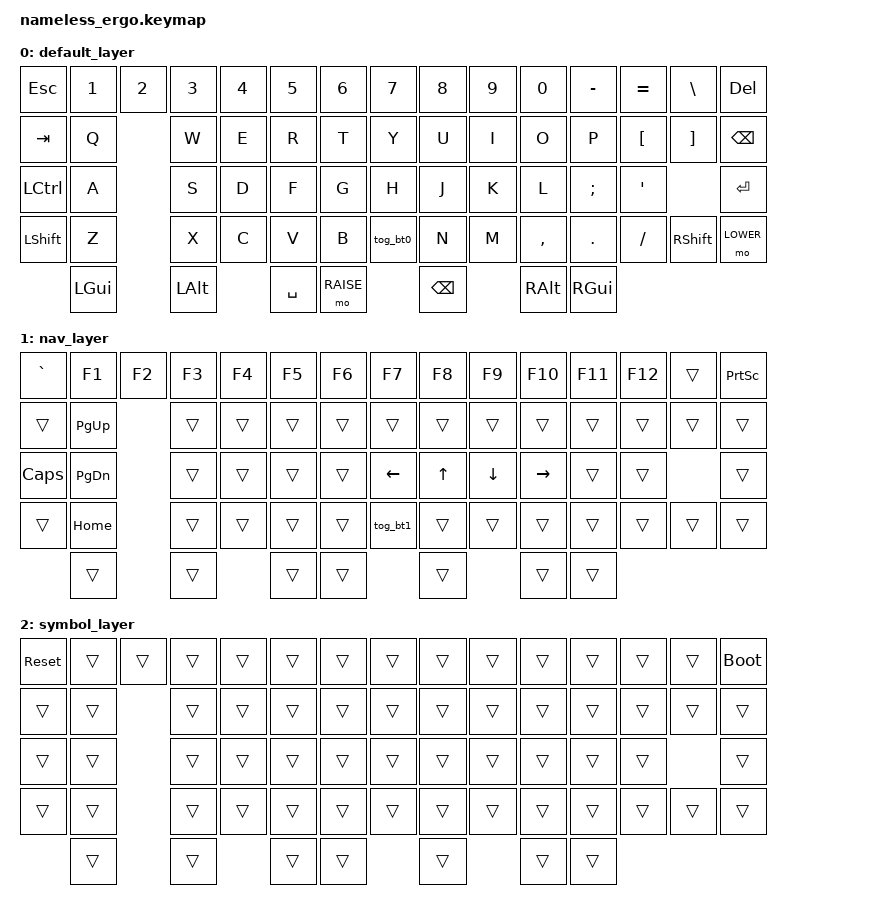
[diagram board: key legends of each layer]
/*
 * Copyright (c) 2023 The ZMK Contributors
 *
 * SPDX-License-Identifier: MIT
 */

#define DEFAULT 0
#define LOWER   1
#define RAISE   2

#include <behaviors.dtsi>
#include <dt-bindings/zmk/keys.h>
#include <dt-bindings/zmk/bt.h>
#include <dt-bindings/zmk/outputs.h>

/ {
    macros {
        tog_bt0: tog_bt0 {
            label = "tog_bt0";
            compatible = "zmk,behavior-macro";
            #binding-cells = <0>;
            wait-ms = <40>;
            tap-ms = <40>;
            bindings = <&out OUT_BLE &bt BT_SEL 0>;
        };
        tog_bt1: tog_bt1 {
            label = "tog_bt1";
            compatible = "zmk,behavior-macro";
            #binding-cells = <0>;
            wait-ms = <40>;
            tap-ms = <40>;
            bindings = <&out OUT_BLE &bt BT_SEL 1>;
        };
    };
};

/ {
    keymap {
        compatible = "zmk,keymap";

        default_layer {
            bindings = <
    &kp ESC     &kp N1    &kp N2     &kp N3    &kp N4    &kp N5   &kp N6                  &kp N7   &kp N8    &kp N9    &kp N0       &kp MINUS   &kp EQUAL   &kp BSLH    &kp DEL
    &kp TAB     &kp Q                &kp W     &kp E     &kp R    &kp T                   &kp Y    &kp U     &kp I     &kp O        &kp P       &kp LBKT    &kp RBKT    &kp BSPC
    &kp LCTRL   &kp A                &kp S     &kp D     &kp F    &kp G                   &kp H    &kp J     &kp K     &kp L        &kp SEMI    &kp SQT                 &kp RET    
    &kp LSHIFT  &kp Z                &kp X     &kp C     &kp V    &kp B                   &tog_bt0 &kp N     &kp M     &kp COMMA    &kp DOT     &kp FSLH    &kp RSHIFT  &mo LOWER
                &kp LGUI             &kp LALT          &kp SPACE  &mo RAISE                        &kp BSPC            &kp RALT     &kp RGUI  
            >;
        };

        nav_layer {
            bindings = <
    &kp GRAVE  &kp F1    &kp F2     &kp F3    &kp F4    &kp F5   &kp F6                 &kp F7   &kp F8   &kp F9    &kp F10      &kp F11     &kp F12     &trans      &kp PSCRN
    &trans     &kp PG_UP            &trans     &trans   &trans   &trans                 &trans   &trans   &trans    &trans       &trans      &trans      &trans      &trans
    &kp CAPS   &kp PG_DN            &trans     &trans   &trans   &trans                 &kp LEFT &kp UP   &kp DOWN  &kp RIGHT    &trans      &trans                  &trans    
    &trans     &kp HOME             &trans     &trans   &trans   &trans                 &tog_bt1 &trans   &trans    &trans       &trans      &trans      &trans      &trans
               &trans               &trans              &trans   &trans                          &trans             &trans       &trans   
            >;
        };

        symbol_layer {
            bindings = <
    &sys_reset &trans      &trans     &trans    &trans   &trans   &trans                  &trans   &trans   &trans    &trans       &trans      &trans      &trans      &bootloader
    &trans     &trans                 &trans    &trans   &trans   &trans                  &trans   &trans   &trans    &trans       &trans      &trans      &trans      &trans
    &trans     &trans                 &trans    &trans   &trans   &trans                  &trans   &trans   &trans    &trans       &trans      &trans                  &trans    
    &trans     &trans                 &trans    &trans   &trans   &trans                  &trans   &trans   &trans    &trans       &trans      &trans      &trans      &trans
               &trans                 &trans              &trans  &trans                           &trans             &trans       &trans   
            >;
        };
    };
};
